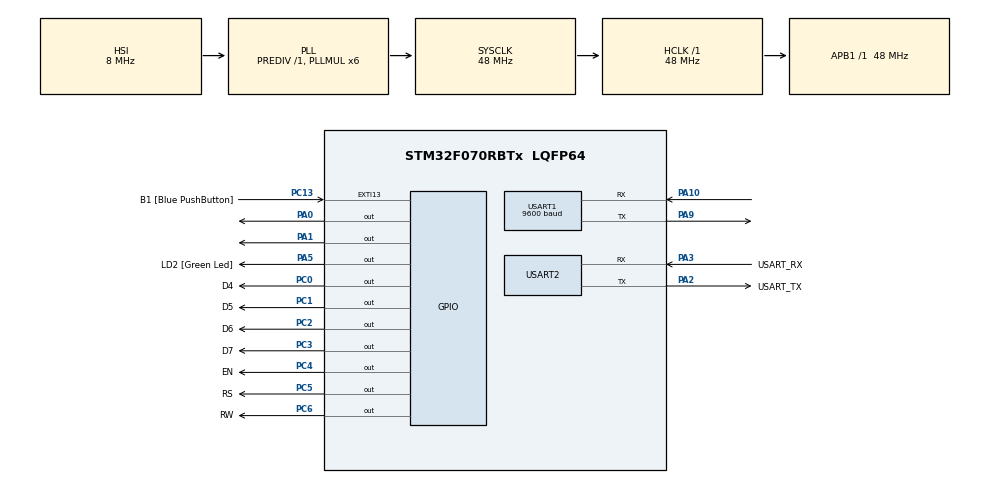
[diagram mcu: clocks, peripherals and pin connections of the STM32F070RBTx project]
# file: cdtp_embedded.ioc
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Mcu.Family=STM32F0
Mcu.Name=STM32F070RBTx
Mcu.Package=LQFP64
PA0.Signal=GPIO_Output
PA1.Signal=GPIO_Output
PA10.Mode=Asynchronous
PA10.Signal=USART1_RX
PA13.GPIO_Label=TMS
PA13.Mode=Serial_Wire
PA13.Signal=SYS_SWDIO
PA14.GPIO_Label=TCK
PA14.Mode=Serial_Wire
PA14.Signal=SYS_SWCLK
PA2.GPIO_Label=USART_TX
PA2.Mode=Asynchronous
PA2.Signal=USART2_TX
PA3.GPIO_Label=USART_RX
PA3.Mode=Asynchronous
PA3.Signal=USART2_RX
PA5.GPIO_Label=LD2 [Green Led]
PA5.Signal=GPIO_Output
PA9.Mode=Asynchronous
PA9.Signal=USART1_TX
PC0.GPIO_Label=D4
PC0.Signal=GPIO_Output
PC1.GPIO_Label=D5
PC1.Signal=GPIO_Output
PC13.GPIO_Label=B1 [Blue PushButton]
PC13.GPIO_ModeDefaultEXTI=GPIO_MODE_IT_FALLING
PC13.Signal=GPXTI13
PC14-OSC32_IN.GPIO_Label=RCC_OSC32_IN
PC14-OSC32_IN.Mode=LSE-External-Oscillator
PC14-OSC32_IN.Signal=RCC_OSC32_IN
PC15-OSC32_OUT.GPIO_Label=RCC_OSC32_OUT
PC15-OSC32_OUT.Mode=LSE-External-Oscillator
PC15-OSC32_OUT.Signal=RCC_OSC32_OUT
PC2.GPIO_Label=D6
PC2.Signal=GPIO_Output
PC3.GPIO_Label=D7
PC3.Signal=GPIO_Output
PC4.GPIO_Label=EN
PC4.Signal=GPIO_Output
PC5.GPIO_Label=RS
PC5.Signal=GPIO_Output
PC6.GPIO_Label=RW
PC6.Signal=GPIO_Output
PF0-OSC_IN.GPIO_Label=RCC_OSC_IN
PF0-OSC_IN.Mode=HSE-External-Clock-Source
PF0-OSC_IN.Signal=RCC_OSC_IN
PF1-OSC_OUT.GPIO_Label=RCC_OSC_OUT
PF1-OSC_OUT.Signal=RCC_OSC_OUT
ProjectManager.HeapSize=0x200
ProjectManager.StackSize=0x400
ProjectManager.TargetToolchain=STM32CubeIDE
RCC.AHBFreq_Value=48000000
RCC.APB1Freq_Value=48000000
RCC.APB1TimFreq_Value=48000000
RCC.HCLKFreq_Value=48000000
RCC.PLLMUL=RCC_PLL_MUL6
RCC.SYSCLKFreq_VALUE=48000000
RCC.SYSCLKSource=RCC_SYSCLKSOURCE_PLLCLK
USART1.BaudRate=9600
USART1.VirtualMode-Asynchronous=VM_ASYNC
USART2.VirtualMode-Asynchronous=VM_ASYNC
board=NUCLEO-F070RB

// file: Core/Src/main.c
/* USER CODE BEGIN Header */
/**
  ******************************************************************************
  * @file           : main.c
  * @brief          : Main program body
  ******************************************************************************
  * @attention
  *
  * <h2><center>&copy; Copyright (c) 2021 STMicroelectronics.
  * All rights reserved.</center></h2>
  *
  * This software component is licensed by ST under BSD 3-Clause license,
  * the "License"; You may not use this file except in compliance with the
  * License. You may obtain a copy of the License at:
  *                        opensource.org/licenses/BSD-3-Clause
  *
  ******************************************************************************
  */
/* USER CODE END Header */
#include "main.h"

/* USER CODE BEGIN Includes */
#include "../../Drivers/lcd_driver/lcd_1602.h"
/* USER CODE END Includes */

UART_HandleTypeDef huart1;
UART_HandleTypeDef huart2;

void SystemClock_Config(void);
static void MX_GPIO_Init(void);
static void MX_USART2_UART_Init(void);
static void MX_USART1_UART_Init(void);

/* USER CODE BEGIN 0 */
char rxBuff[] = " ";

/* USER CODE END 0 */

int main(void)
{

  /* MCU Configuration--------------------------------------------------------*/

  /* Reset of all peripherals, Initializes the Flash interface and the Systick. */
  HAL_Init();

  /* Configure the system clock */
  SystemClock_Config();

  /* Initialize all configured peripherals */
  MX_GPIO_Init();
  MX_USART2_UART_Init();
  MX_USART1_UART_Init();
  /* USER CODE BEGIN 2 */
  lcd_init();
  /* USER CODE END 2 */

  /* Infinite loop */
  /* USER CODE BEGIN WHILE */
  while (1)
  {

	HAL_UART_Receive (&huart1, (uint8_t*)rxBuff, strlen(rxBuff), 200);

	if(rxBuff[0]=='a'){
		lcd_gotoxy(0, 0);
		lcd_puts("Yolda hayvan var");
		lcd_gotoxy(0,1);
		lcd_puts("                ");

		for(int i=0; i<10; i++){

			HAL_GPIO_WritePin(GPIOA, GPIO_PIN_1, RESET);
			HAL_GPIO_WritePin(GPIOA, GPIO_PIN_0, SET);
			HAL_Delay(100);
			HAL_GPIO_WritePin(GPIOA, GPIO_PIN_0, RESET);
			HAL_GPIO_WritePin(GPIOA, GPIO_PIN_1, SET);
			HAL_Delay(100);
			HAL_GPIO_WritePin(GPIOA, GPIO_PIN_1, RESET);
			HAL_GPIO_WritePin(GPIOA, GPIO_PIN_0, SET);
			HAL_Delay(100);
			HAL_GPIO_WritePin(GPIOA, GPIO_PIN_0, RESET);
			HAL_GPIO_WritePin(GPIOA, GPIO_PIN_1, SET);
			HAL_Delay(100);
			HAL_GPIO_WritePin(GPIOA, GPIO_PIN_1, RESET);
		}
		rxBuff[0]='f';

	}
	else if(rxBuff[0]=='b'){
		lcd_gotoxy(0, 0);
		lcd_puts("  Araba yoldan  ");
		lcd_gotoxy(0,1);
		lcd_puts("     cikti!");

		for(int i=0; i<10; i++){

			HAL_GPIO_WritePin(GPIOA, GPIO_PIN_1, RESET);
			HAL_GPIO_WritePin(GPIOA, GPIO_PIN_0, SET);
			HAL_Delay(100);
			HAL_GPIO_WritePin(GPIOA, GPIO_PIN_0, RESET);
			HAL_GPIO_WritePin(GPIOA, GPIO_PIN_1, SET);
			HAL_Delay(100);
			HAL_GPIO_WritePin(GPIOA, GPIO_PIN_1, RESET);
			HAL_GPIO_WritePin(GPIOA, GPIO_PIN_0, SET);
			HAL_Delay(100);
			HAL_GPIO_WritePin(GPIOA, GPIO_PIN_0, RESET);
			HAL_GPIO_WritePin(GPIOA, GPIO_PIN_1, SET);
			HAL_Delay(100);
			HAL_GPIO_WritePin(GPIOA, GPIO_PIN_1, RESET);

		}
		rxBuff[0]='f';
	}
	else if(rxBuff[0]=='c'){
		lcd_gotoxy(0, 0);
		lcd_puts("Duran araba var!");
		lcd_gotoxy(0,1);
		lcd_puts("                ");

		for(int i=0; i<10; i++){

			HAL_GPIO_WritePin(GPIOA, GPIO_PIN_1, RESET);
			HAL_GPIO_WritePin(GPIOA, GPIO_PIN_0, SET);
			HAL_Delay(100);
			HAL_GPIO_WritePin(GPIOA, GPIO_PIN_0, RESET);
			HAL_GPIO_WritePin(GPIOA, GPIO_PIN_1, SET);
			HAL_Delay(100);
			HAL_GPIO_WritePin(GPIOA, GPIO_PIN_1, RESET);
			HAL_GPIO_WritePin(GPIOA, GPIO_PIN_0, SET);
			HAL_Delay(100);
			HAL_GPIO_WritePin(GPIOA, GPIO_PIN_0, RESET);
			HAL_GPIO_WritePin(GPIOA, GPIO_PIN_1, SET);
			HAL_Delay(100);
			HAL_GPIO_WritePin(GPIOA, GPIO_PIN_1, RESET);

		}
		rxBuff[0]='f';
	}
	else {
		lcd_clr();
		rxBuff[0]='f';
	}
    /* USER CODE END WHILE */

  }
}

void SystemClock_Config(void)
{
  RCC_OscInitTypeDef RCC_OscInitStruct = {0};
  RCC_ClkInitTypeDef RCC_ClkInitStruct = {0};
  RCC_PeriphCLKInitTypeDef PeriphClkInit = {0};

  /** Initializes the RCC Oscillators according to the specified parameters
  * in the RCC_OscInitTypeDef structure.
  */
  RCC_OscInitStruct.OscillatorType = RCC_OSCILLATORTYPE_HSI;
  RCC_OscInitStruct.HSIState = RCC_HSI_ON;
  RCC_OscInitStruct.HSICalibrationValue = RCC_HSICALIBRATION_DEFAULT;
  RCC_OscInitStruct.PLL.PLLState = RCC_PLL_ON;
  RCC_OscInitStruct.PLL.PLLSource = RCC_PLLSOURCE_HSI;
  RCC_OscInitStruct.PLL.PLLMUL = RCC_PLL_MUL6;
  RCC_OscInitStruct.PLL.PREDIV = RCC_PREDIV_DIV1;
  if (HAL_RCC_OscConfig(&RCC_OscInitStruct) != HAL_OK)
  {
    Error_Handler();
  }
  /** Initializes the CPU, AHB and APB buses clocks
  */
  RCC_ClkInitStruct.ClockType = RCC_CLOCKTYPE_HCLK|RCC_CLOCKTYPE_SYSCLK
                              |RCC_CLOCKTYPE_PCLK1;
  RCC_ClkInitStruct.SYSCLKSource = RCC_SYSCLKSOURCE_PLLCLK;
  RCC_ClkInitStruct.AHBCLKDivider = RCC_SYSCLK_DIV1;
  RCC_ClkInitStruct.APB1CLKDivider = RCC_HCLK_DIV1;

  if (HAL_RCC_ClockConfig(&RCC_ClkInitStruct, FLASH_LATENCY_1) != HAL_OK)
  {
    Error_Handler();
  }
  PeriphClkInit.PeriphClockSelection = RCC_PERIPHCLK_USART1;
  PeriphClkInit.Usart1ClockSelection = RCC_USART1CLKSOURCE_PCLK1;
  if (HAL_RCCEx_PeriphCLKConfig(&PeriphClkInit) != HAL_OK)
  {
    Error_Handler();
  }
}

static void MX_USART1_UART_Init(void)
{

  huart1.Instance = USART1;
  huart1.Init.BaudRate = 9600;
  huart1.Init.WordLength = UART_WORDLENGTH_8B;
  huart1.Init.StopBits = UART_STOPBITS_1;
  huart1.Init.Parity = UART_PARITY_NONE;
  huart1.Init.Mode = UART_MODE_TX_RX;
  huart1.Init.HwFlowCtl = UART_HWCONTROL_NONE;
  huart1.Init.OverSampling = UART_OVERSAMPLING_16;
  huart1.Init.OneBitSampling = UART_ONE_BIT_SAMPLE_DISABLE;
  huart1.AdvancedInit.AdvFeatureInit = UART_ADVFEATURE_NO_INIT;
  if (HAL_UART_Init(&huart1) != HAL_OK)
  {
    Error_Handler();
  }

}

static void MX_USART2_UART_Init(void)
{

  huart2.Instance = USART2;
  huart2.Init.BaudRate = 38400;
  huart2.Init.WordLength = UART_WORDLENGTH_8B;
  huart2.Init.StopBits = UART_STOPBITS_1;
  huart2.Init.Parity = UART_PARITY_NONE;
  huart2.Init.Mode = UART_MODE_TX_RX;
  huart2.Init.HwFlowCtl = UART_HWCONTROL_NONE;
  huart2.Init.OverSampling = UART_OVERSAMPLING_16;
  huart2.Init.OneBitSampling = UART_ONE_BIT_SAMPLE_DISABLE;
  huart2.AdvancedInit.AdvFeatureInit = UART_ADVFEATURE_NO_INIT;
  if (HAL_UART_Init(&huart2) != HAL_OK)
  {
    Error_Handler();
  }

}

static void MX_GPIO_Init(void)
{
  GPIO_InitTypeDef GPIO_InitStruct = {0};

  /* GPIO Ports Clock Enable */
  __HAL_RCC_GPIOC_CLK_ENABLE();
  __HAL_RCC_GPIOF_CLK_ENABLE();
  __HAL_RCC_GPIOA_CLK_ENABLE();

  /*Configure GPIO pin Output Level */
  HAL_GPIO_WritePin(GPIOC, D4_Pin|D5_Pin|D6_Pin|D7_Pin
                          |EN_Pin|RS_Pin|RW_Pin, GPIO_PIN_RESET);

  /*Configure GPIO pin Output Level */
  HAL_GPIO_WritePin(GPIOA, GPIO_PIN_0|GPIO_PIN_1|LD2_Pin, GPIO_PIN_RESET);

  /*Configure GPIO pin : B1_Pin */
  GPIO_InitStruct.Pin = B1_Pin;
  GPIO_InitStruct.Mode = GPIO_MODE_IT_FALLING;
  GPIO_InitStruct.Pull = GPIO_NOPULL;
  HAL_GPIO_Init(B1_GPIO_Port, &GPIO_InitStruct);

  /*Configure GPIO pins : D4_Pin D5_Pin D6_Pin D7_Pin
                           EN_Pin RS_Pin RW_Pin */
  GPIO_InitStruct.Pin = D4_Pin|D5_Pin|D6_Pin|D7_Pin
                          |EN_Pin|RS_Pin|RW_Pin;
  GPIO_InitStruct.Mode = GPIO_MODE_OUTPUT_PP;
  GPIO_InitStruct.Pull = GPIO_NOPULL;
  GPIO_InitStruct.Speed = GPIO_SPEED_FREQ_LOW;
  HAL_GPIO_Init(GPIOC, &GPIO_InitStruct);

  /*Configure GPIO pins : PA0 PA1 LD2_Pin */
  GPIO_InitStruct.Pin = GPIO_PIN_0|GPIO_PIN_1|LD2_Pin;
  GPIO_InitStruct.Mode = GPIO_MODE_OUTPUT_PP;
  GPIO_InitStruct.Pull = GPIO_NOPULL;
  GPIO_InitStruct.Speed = GPIO_SPEED_FREQ_LOW;
  HAL_GPIO_Init(GPIOA, &GPIO_InitStruct);

}

void Error_Handler(void)
{
  __disable_irq();
  while (1)
  {
  }
}
